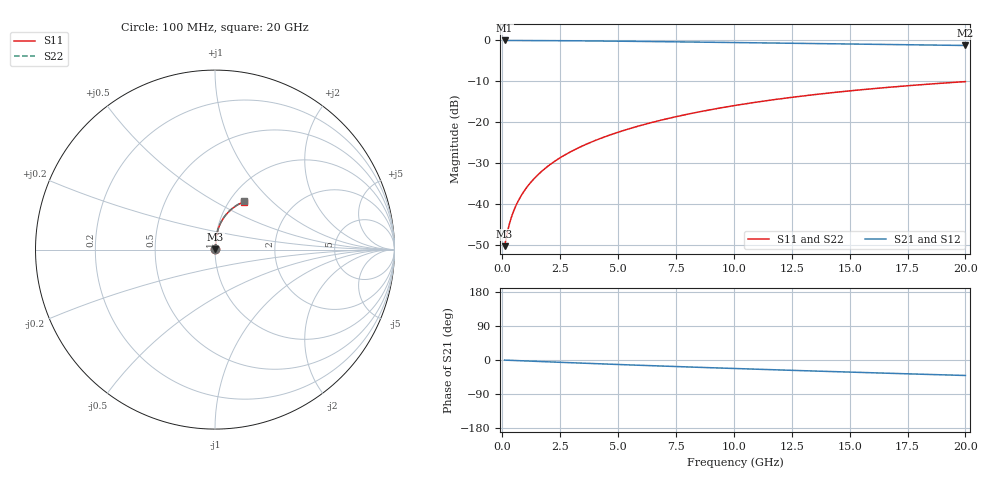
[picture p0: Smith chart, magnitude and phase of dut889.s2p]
! Touchstone file exported from HFSS 2024.1.0
!  File:  C:/UserFiles/LocalFiles/RDL_TSV_Batchsim/temp_RDL_top_889_1779857133.aedt
!  Generated:  12:47:31 PM May 27, 2026
!  Design:  RDL_top
!  Project:  temp_RDL_top_889_1779857133
!  Setup:  Setup1
!  Solution:  Sweep
! Variables:
!  dtsv = 10.80580581um
!  hbump = 3um
!  htsv = 86.41um
!  ldown = 100um
!  lrdl = 638.84um
!  p = 40
!  p1 = 41.63um
!  rhole = 1um
!  t = 450um
!  tdown = 3.915915916um
!  trdl = 4.41um
!  wdown = 15.38538539um
!  wrdl = 21.66um
# GHz S MA R 50.000000
! Terminal data exported
! Port[1] = Box2_T1
! Port[2] = Box2_T2
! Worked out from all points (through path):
!   200 points, 100 MHz to 20 GHz, reference 50 ohm
!   highest |S21| = -0.02 dB at 100 MHz (marker M1); lowest = -1.2 dB at 20 GHz (marker M2)
!   group delay of S21, straight-line fit = 5.62 ps
!   lowest |S11| = -50.3 dB at 100 MHz (marker M3), VSWR 1.01, Z = 50.3 + j0.171 ohm
!   |S11| at or under -10 dB: start of sweep to end of sweep
!   |S22| runs from -50.3 to -10.0 dB; largest |S21 - S12| = 2.4e-15
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0.1  0.003065 33.6  0.9974 -0.3  0.9974 -0.3  0.003065 33.6
! Gamma 0 0 0 0
! Port Impedance 50 0 50 0
0.2  0.004284 50.8  0.9972 -0.5  0.9972 -0.5  0.004284 50.8
0.3  0.005645 59.2  0.997 -0.8  0.997 -0.8  0.005644 59.2
0.4  0.007014 64.2  0.9968 -1.0  0.9968 -1.0  0.007011 64.2
0.5  0.008373 67.6  0.9967 -1.3  0.9967 -1.3  0.008369 67.6
0.6  0.009729 70.2  0.9965 -1.5  0.9965 -1.5  0.009726 70.2
0.8  0.01246 74.0  0.9961 -2.0  0.9961 -2.0  0.01246 74.0
1.1  0.01662 77.5  0.9956 -2.7  0.9956 -2.7  0.01662 77.5
1.3  0.01944 79.0  0.9951 -3.2  0.9951 -3.2  0.01944 79.1
1.6  0.02372 80.7  0.9943 -3.9  0.9943 -3.9  0.02372 80.8
2.1  0.03096 82.4  0.9927 -5.1  0.9927 -5.1  0.03097 82.5
2.7  0.03983 83.5  0.9903 -6.6  0.9903 -6.6  0.03985 83.6
3.5  0.05194 84.0  0.9864 -8.4  0.9864 -8.4  0.05197 84.1
4.2  0.0628 84.1  0.9825 -10.1  0.9825 -10.1  0.06285 84.2
5  0.07551 83.7  0.9775 -11.9  0.9775 -11.9  0.07559 83.9
6.8  0.1051 82.1  0.965 -15.8  0.965 -15.8  0.1052 82.2
8.4  0.1321 79.9  0.9532 -19.2  0.9532 -19.2  0.1324 80.0
10.1  0.1611 77.1  0.9403 -22.6  0.9403 -22.6  0.1615 77.2
11.7  0.1881 74.2  0.9281 -25.7  0.9281 -25.7  0.1886 74.4
13.4  0.2162 71.0  0.9152 -29.0  0.9152 -29.0  0.2167 71.2
16.7  0.2674 64.7  0.8904 -35.1  0.8904 -35.1  0.2682 64.9
20  0.3135 58.6  0.8662 -40.9  0.8662 -40.9  0.3145 58.8
